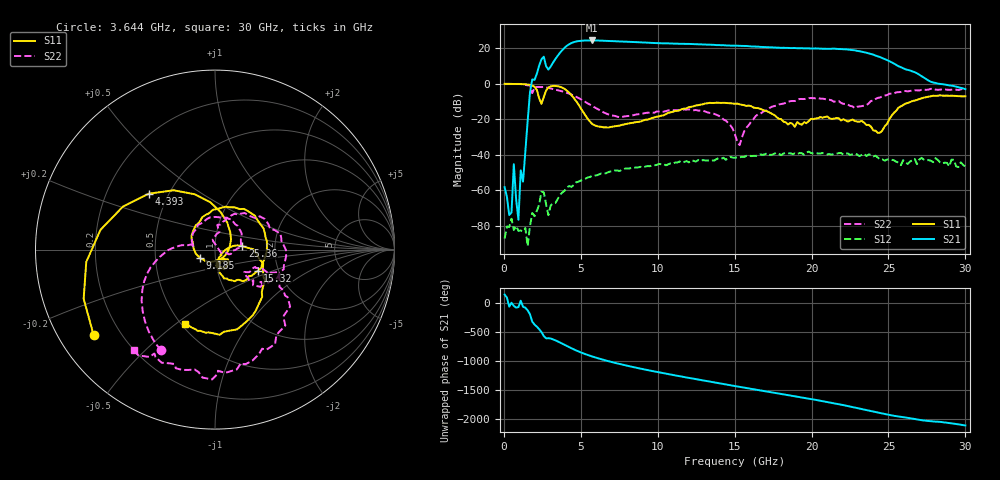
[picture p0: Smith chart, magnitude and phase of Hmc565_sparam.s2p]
!Hittite Microwave Corporation
!20 Alpha Rd
!Chelmsford, MA 01824
!Tel: 978-250-3343
!Fax: 978-250-3373
!Device: HMC565, 6 - 20 GHz GaAs PHEMT MMIC LNA DIE; Measuremments were performed with part mounted on gold plate
!RF IN and OUT were connected to 50 Ohms substrates via two  1 mil diameter bondwires
!Misc:Bias: +3VDC; T= +25C;
# GHZ S DB R 50.0
!Freq (GHz)	S11 (mag)	S11 (ph)	S21 (mag)	S21 (ph)	S12 (mag)	S12 (ph)	S22 (mag)	S22 (ph)
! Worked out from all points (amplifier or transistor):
!   201 points, 50 MHz to 30 GHz, reference 50 ohm
!   highest |S21| = 24.4 dB at 5.74 GHz (marker M1)
!   |S21| within 3 dB of that: 4.096 GHz to 15.25 GHz (11.15 GHz wide, 115 % of centre)
!   unconditionally stable (mu >= 1): start of sweep to end of sweep
!   at 4.992 GHz: K = 13.49, MAG = 25.0 dB, |S12| = -54.5 dB
!   at 15.03 GHz: K = 4.72, MAG = 21.8 dB, |S12| = -41.6 dB
!   at 30 GHz: K = 57.52, MAG = 1.2 dB, |S12| = -46.5 dB
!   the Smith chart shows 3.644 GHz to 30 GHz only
!   S11 on the Smith chart (normalised r, x): 3.644 GHz: 0.10, -0.31; 4.393 GHz: 0.39, +0.32; 9.185 GHz: 0.84, -0.08; 15.32 GHz: 1.56, -0.40; 25.36 GHz: 1.36, +0.05; 30 GHz: 0.52, -0.54
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0.05  -0.02 -2.3  -58.21 150.5  -87.15 -76.2  -0.04 -1.7
2.446  -11.27 35.2  13.81 -139.7  -60.80 130.9  -1.82 -74.0
2.59575  -7.40 -27.6  15.29 152.8  -61.04 47.4  -1.72 -79.9
3.644  -1.64 -144.8  17.42 41.0  -62.58 -7.5  -3.91 -118.3
4.39275  -6.31 139.9  22.98 -58.7  -58.02 -117.2  -6.05 -145.2
5.1415  -15.67 65.5  24.32 -145.4  -54.04 172.9  -9.42 -168.7
5.7405  -22.55 -1.0  24.42 158.9  -51.87 139.5  -12.42 178.2
6.639  -24.49 -70.5  24.23 88.5  -50.38 96.7  -16.70 169.9
7.68725  -23.10 -103.2  23.87 18.5  -48.38 58.4  -18.63 171.4
9.18475  -20.26 -151.3  23.21 -68.5  -46.65 8.9  -16.46 146.1
10.08325  -18.30 172.7  22.87 -115.7  -45.09 -20.0  -15.61 120.5
11.431  -14.84 116.5  22.53 176.8  -43.71 -61.9  -14.84 77.8
12.9285  -11.55 58.6  22.20 104.1  -42.94 -114.0  -15.19 31.3
15.17475  -11.15 -21.5  21.45 -0.6  -41.44 166.7  -32.75 -4.0
15.3245  -11.52 -26.6  21.38 -7.4  -41.42 162.7  -34.49 40.3
17.27125  -16.17 -73.5  20.57 -95.8  -39.93 85.4  -13.60 64.8
20.1165  -19.88 -46.6  19.91 135.1  -39.18 -4.9  -8.07 -9.5
22.5125  -20.70 -78.7  19.13 11.8  -40.04 -78.1  -12.43 -39.7
23.7105  -23.10 -76.1  17.15 -57.1  -39.82 -105.7  -11.07 -21.6
25.05825  -19.83 11.4  12.71 -132.7  -42.59 -132.6  -5.59 -37.1
25.35775  -16.29 7.3  11.41 -148.3  -43.06 -140.6  -5.42 -44.6
30  -7.01 -111.7  -2.99 44.7  -46.51 65.7  -2.87 -129.1
